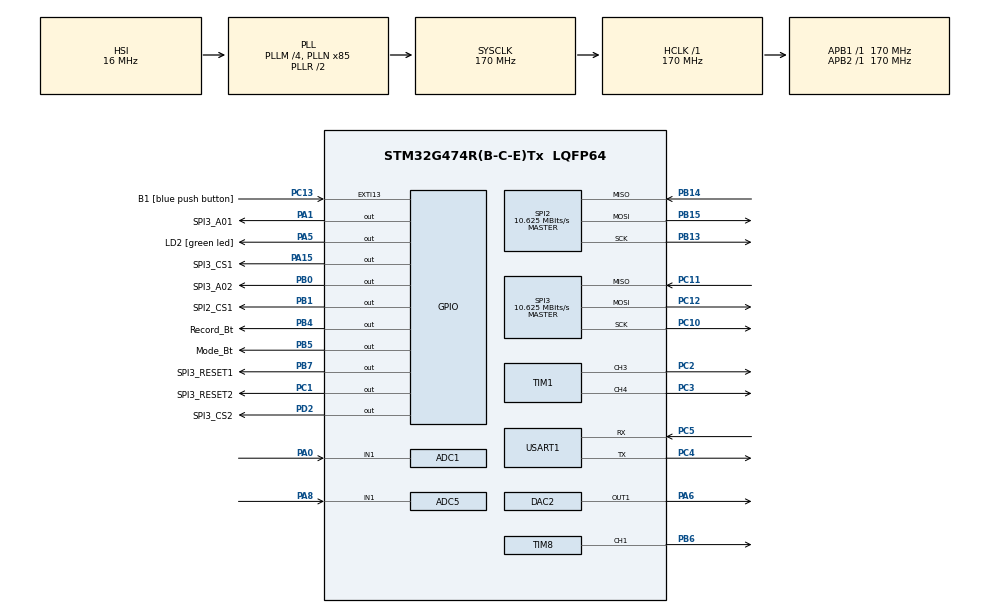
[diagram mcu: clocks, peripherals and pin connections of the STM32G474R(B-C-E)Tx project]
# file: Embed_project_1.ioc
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ADC1.Channel-0\#ChannelRegularConversion=ADC_CHANNEL_1
ADC1.NbrOfConversionFlag=1
ADC1.OffsetNumber-0\#ChannelRegularConversion=ADC_OFFSET_NONE
ADC1.Rank-0\#ChannelRegularConversion=1
ADC1.SamplingTime-0\#ChannelRegularConversion=ADC_SAMPLETIME_640CYCLES_5
ADC1.master=1
ADC5.Channel-0\#ChannelRegularConversion=ADC_CHANNEL_1
ADC5.NbrOfConversionFlag=1
ADC5.OffsetNumber-0\#ChannelRegularConversion=ADC_OFFSET_NONE
ADC5.Rank-0\#ChannelRegularConversion=1
ADC5.SamplingTime-0\#ChannelRegularConversion=ADC_SAMPLETIME_640CYCLES_5
Dma.ADC1.0.Direction=DMA_PERIPH_TO_MEMORY
Dma.ADC1.0.EventEnable=DISABLE
Dma.ADC1.0.Instance=DMA1_Channel1
Dma.ADC1.0.MemDataAlignment=DMA_MDATAALIGN_HALFWORD
Dma.ADC1.0.MemInc=DMA_MINC_ENABLE
Dma.ADC1.0.Mode=DMA_NORMAL
Dma.ADC1.0.PeriphDataAlignment=DMA_PDATAALIGN_HALFWORD
Dma.ADC1.0.PeriphInc=DMA_PINC_DISABLE
Dma.ADC1.0.Polarity=HAL_DMAMUX_REQ_GEN_RISING
Dma.ADC1.0.Priority=DMA_PRIORITY_LOW
Dma.ADC1.0.RequestNumber=1
Dma.ADC1.0.SignalID=NONE
Dma.ADC1.0.SyncEnable=DISABLE
Dma.ADC1.0.SyncPolarity=HAL_DMAMUX_SYNC_NO_EVENT
Dma.ADC1.0.SyncRequestNumber=1
Dma.ADC1.0.SyncSignalID=NONE
Dma.Request0=ADC1
Mcu.Family=STM32G4
Mcu.Name=STM32G474R(B-C-E)Tx
Mcu.Package=LQFP64
NVIC.DMA1_Channel1_IRQn=true\:0\:0\:false\:false\:true\:false\:true\:true
NVIC.EXTI15_10_IRQn=true\:0\:0\:false\:false\:true\:true\:true\:true
NVIC.PriorityGroup=NVIC_PRIORITYGROUP_4
NVIC.SPI2_IRQn=true\:0\:0\:false\:false\:true\:true\:true\:true
NVIC.TIM6_DAC_IRQn=true\:0\:0\:false\:false\:true\:true\:true\:true
PA0.Mode=IN1-Single-Ended
PA0.Signal=ADC1_IN1
PA1.GPIO_Label=SPI3_A01
PA1.Signal=GPIO_Output
PA13.GPIO_Label=T_SWDIO
PA13.Signal=SYS_JTMS-SWDIO
PA14.GPIO_Label=T_SWCLK
PA14.Signal=SYS_JTCK-SWCLK
PA15.GPIO_Label=SPI3_CS1
PA15.PinState=GPIO_PIN_SET
PA15.Signal=GPIO_Output
PA2.GPIO_Label=LPUART1_TX [STLINKV3E_VCP_RX]
PA2.Signal=LPUART1_TX
PA3.GPIO_Label=LPUART1_RX [STLINKV3E_VCP_TX]
PA3.Signal=LPUART1_RX
PA5.GPIO_Label=LD2 [green led]
PA5.Signal=GPIO_Output
PA6.Signal=COMP_DAC21_group
PA8.Mode=IN1-Single-Ended
PA8.Signal=ADC5_IN1
PB0.GPIO_Label=SPI3_A02
PB0.Signal=GPIO_Output
PB1.GPIO_Label=SPI2_CS1
PB1.PinState=GPIO_PIN_SET
PB1.Signal=GPIO_Output
PB13.Mode=Full_Duplex_Master
PB13.Signal=SPI2_SCK
PB14.GPIO_PuPd=GPIO_PULLUP
PB14.Mode=Full_Duplex_Master
PB14.Signal=SPI2_MISO
PB15.Mode=Full_Duplex_Master
PB15.Signal=SPI2_MOSI
PB3.GPIO_Label=T_SWO
PB3.Signal=SYS_JTDO-SWO
PB4.GPIO_Label=Record_Bt
PB4.Signal=GPIO_Output
PB5.GPIO_Label=Mode_Bt
PB5.Signal=GPIO_Output
PB6.Signal=S_TIM8_CH1
PB7.GPIO_Label=SPI3_RESET1
PB7.PinState=GPIO_PIN_SET
PB7.Signal=GPIO_Output
PC1.GPIO_Label=SPI3_RESET2
PC1.PinState=GPIO_PIN_SET
PC1.Signal=GPIO_Output
PC10.Mode=Full_Duplex_Master
PC10.Signal=SPI3_SCK
PC11.Mode=Full_Duplex_Master
PC11.Signal=SPI3_MISO
PC12.Mode=Full_Duplex_Master
PC12.Signal=SPI3_MOSI
PC13.GPIO_Label=B1 [blue push button]
PC13.Signal=GPXTI13
PC14-OSC32_IN.GPIO_Label=RCC_OSC32_IN
PC14-OSC32_IN.Signal=RCC_OSC32_IN
PC15-OSC32_OUT.GPIO_Label=RCC_OSC32_OUT
PC15-OSC32_OUT.Signal=RCC_OSC32_OUT
PC2.Signal=S_TIM1_CH3
PC3.Signal=S_TIM1_CH4
PC4.Mode=Asynchronous
PC4.Signal=USART1_TX
PC5.Mode=Asynchronous
PC5.Signal=USART1_RX
PD2.GPIO_Label=SPI3_CS2
PD2.PinState=GPIO_PIN_SET
PD2.Signal=GPIO_Output
PF0-OSC_IN.GPIO_Label=RCC_OSC_IN
PF0-OSC_IN.Signal=RCC_OSC_IN
PF1-OSC_OUT.GPIO_Label=RCC_OSC_OUT
PF1-OSC_OUT.Signal=RCC_OSC_OUT
ProjectManager.HeapSize=0x200
ProjectManager.StackSize=0x400
ProjectManager.TargetToolchain=STM32CubeIDE
RCC.ADC12Freq_Value=170000000
RCC.ADC345Freq_Value=170000000
RCC.AHBFreq_Value=170000000
RCC.APB1Freq_Value=170000000
RCC.APB1TimFreq_Value=170000000
RCC.APB2Freq_Value=170000000
RCC.APB2TimFreq_Value=170000000
RCC.CortexFreq_Value=170000000
RCC.EXTERNAL_CLOCK_VALUE=12288000
RCC.HCLKFreq_Value=170000000
RCC.HSE_VALUE=24000000
RCC.HSI48_VALUE=48000000
RCC.HSI_VALUE=16000000
RCC.LSE_VALUE=32768
RCC.PLLM=RCC_PLLM_DIV4
RCC.PLLN=85
RCC.RTCClockSelection=RCC_RTCCLKSOURCE_LSE
RCC.SYSCLKFreq_VALUE=170000000
RCC.SYSCLKSource=RCC_SYSCLKSOURCE_PLLCLK
RCC.USBFreq_Value=170000000
RCC.VCOOutputFreq_Value=340000000
SH.COMP_DAC21_group.0=DAC2_OUT1,DAC_OUT1
SH.S_TIM1_CH3.0=TIM1_CH3,PWM Generation3 CH3
SH.S_TIM1_CH4.0=TIM1_CH4,PWM Generation4 CH4
SH.S_TIM8_CH1.0=TIM8_CH1,PWM Generation1 CH1
SPI2.BaudRatePrescaler=SPI_BAUDRATEPRESCALER_16
SPI2.CalculateBaudRate=10.625 MBits/s
SPI2.DataSize=SPI_DATASIZE_8BIT
SPI2.Direction=SPI_DIRECTION_2LINES
SPI2.Mode=SPI_MODE_MASTER
SPI2.NSSPMode=SPI_NSS_PULSE_DISABLE
SPI2.VirtualType=VM_MASTER
SPI3.BaudRatePrescaler=SPI_BAUDRATEPRESCALER_16
SPI3.CalculateBaudRate=10.625 MBits/s
SPI3.DataSize=SPI_DATASIZE_8BIT
SPI3.Direction=SPI_DIRECTION_2LINES
SPI3.Mode=SPI_MODE_MASTER
SPI3.NSSPMode=SPI_NSS_PULSE_DISABLE
SPI3.VirtualType=VM_MASTER
TIM1.Channel-PWM\ Generation3\ CH3=TIM_CHANNEL_3
TIM1.Channel-PWM\ Generation4\ CH4=TIM_CHANNEL_4
TIM6.PeriodNoDither=62
TIM6.Prescaler=170-1
TIM8.Channel-PWM\ Generation1\ CH1=TIM_CHANNEL_1
USART1.VirtualMode-Asynchronous=VM_ASYNC
VP_FATFS_VS_Generic.Mode=User_defined
VP_SYS_VS_DBSignals.Mode=DisableDeadBatterySignals
VP_TIM1_VS_ClockSourceINT.Mode=Internal
VP_TIM4_VS_ClockSourceINT.Mode=Internal
VP_TIM6_VS_ClockSourceINT.Mode=Enable_Timer
VP_TIM8_VS_ClockSourceINT.Mode=Internal
board=NUCLEO-G474RE

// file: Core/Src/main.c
/* USER CODE BEGIN Header */
/**
  ******************************************************************************
  * @file           : main.c
  * @brief          : Main program body
  ******************************************************************************
  * @attention
  *
  * Copyright (c) 2026 STMicroelectronics.
  * All rights reserved.
  *
  * This software is licensed under terms that can be found in the LICENSE file
  * in the root directory of this software component.
  * If no LICENSE file comes with this software, it is provided AS-IS.
  *
  ******************************************************************************
  */
/* USER CODE END Header */
#include "main.h"
#include "adc.h"
#include "dac.h"
#include "dma.h"
#include "app_fatfs.h"
#include "spi.h"
#include "tim.h"
#include "usart.h"
#include "gpio.h"

/* USER CODE BEGIN Includes */
#include "app_fatfs.h"
#include "st7735.h"
#include <string.h>
#include <math.h>
/* USER CODE END Includes */

/* USER CODE BEGIN PV */
/* ตัวแปรเช็ก SD Card */
FATFS fs;
FIL fil;
FRESULT fres_mount = 99;
FRESULT fres_open  = 99;
UINT bytes_read    = 0;
char sd_buffer[64];

/* ตัวแปรเช็กหน้าจอ 2 จอ */
volatile uint8_t lcd_status = 0;
/* ตารางเก็บคลื่น Sine Wave 32 จุด (ที่ 16kHz จะได้เสียงความถี่ 500 Hz) */
uint16_t sine_table[32];
volatile uint8_t sine_idx = 0;

/* ตัวแปรสำหรับดูค่าเสียงจากไมโครโฟนใน Live Expressions */
volatile uint16_t mic_raw = 0;      // ค่าดิบจาก ADC (0 - 4095) เงียบๆ จะอยู่แถว ~2048
volatile uint16_t mic_peak = 0;     // ความดังสูงสุดตอนพูดใส่ไมค์ (0 - 2048)
/* USER CODE END PV */

void SystemClock_Config(void);

/* USER CODE BEGIN 0 */
/* ฟังก์ชันนี้จะถูกเรียกอัตโนมัติทุกๆ 1/16000 วินาที เพื่อส่งคลื่น Sine ออกขา PA6 */
void HAL_TIM_PeriodElapsedCallback(TIM_HandleTypeDef *htim)
{
    if (htim->Instance == TIM6)
    {
        HAL_DAC_SetValue(&hdac2, DAC_CHANNEL_1, DAC_ALIGN_12B_R, sine_table[sine_idx]);
        sine_idx++;
        if (sine_idx >= 32) sine_idx = 0;
    }
}
/* USER CODE END 0 */

int main(void)
{

  /* MCU Configuration--------------------------------------------------------*/

  /* Reset of all peripherals, Initializes the Flash interface and the Systick. */
  HAL_Init();

  /* Configure the system clock */
  SystemClock_Config();

  /* Initialize all configured peripherals */
  MX_GPIO_Init();
  MX_DMA_Init();
  MX_ADC1_Init();
  MX_DAC2_Init();
  MX_SPI2_Init();
  MX_SPI3_Init();
  MX_TIM1_Init();
  MX_TIM4_Init();
  MX_USART1_UART_Init();
  MX_TIM8_Init();
  if (MX_FATFS_Init() != APP_OK) {
    Error_Handler();
  }
  MX_TIM6_Init();
  MX_ADC5_Init();
  /* USER CODE BEGIN 2 */
  HAL_Delay(500); // รอไฟเลี้ยงอุปกรณ์ทุกชิ้นนิ่ง

  /* --- 1. ทดสอบอ่านไฟล์ test.txt จาก SD Card (SPI2) --- */
  memset(sd_buffer, 0, sizeof(sd_buffer));
  fres_mount = f_mount(&fs, "", 1);
  if (fres_mount == FR_OK) {
      fres_open = f_open(&fil, "test.txt", FA_READ);
      if (fres_open == FR_OK) {
          f_read(&fil, sd_buffer, sizeof(sd_buffer) - 1, &bytes_read);
          f_close(&fil);
      }
  }

  /* --- 2. ทดสอบแสดงผลบนหน้าจอคู่ ST7735 ทั้ง 2 จอ (SPI3) --- */
  lcd_status = 1; // เริ่มต้น Init จอ
  ST7735_Init(1); // จอซ้าย
  ST7735_Init(2); // จอขวา

  lcd_status = 2; // เคลียร์พื้นหลังสีดำทั้ง 2 จอ
  ST7735_FillScreen(1, ST7735_BLACK);
  ST7735_FillScreen(2, ST7735_BLACK);

  /* วาดตาเพนกวิน: จอซ้ายสีฟ้า / จอขวาสีเหลือง */
  ST7735_FillRoundRect(1, 34, 24, 60, 80, 18, ST7735_CYAN);
  ST7735_FillRoundRect(2, 34, 24, 60, 80, 18, ST7735_YELLOW);

  /* จุดสีเขียวมุมซ้ายบนของจอที่ 1 = อ่าน SD Card สำเร็จ / จุดสีแดง = อ่านไม่ได้ */
  if (fres_mount == FR_OK) {
      ST7735_FillCircle(1, 12, 12, 6, ST7735_GREEN);
  } else {
      ST7735_FillCircle(1, 12, 12, 6, ST7735_RED);
  }

  lcd_status = 3; // ทำงานครบทุกขั้นตอนสมบูรณ์
  // สร้างตารางคลื่น Sine 12-bit (ค่าแกว่งระหว่าง 0 ถึง 4095 กึ่งกลางที่ 2048)
  for (int i = 0; i < 32; i++) {
      sine_table[i] = (uint16_t)(2048.0f + 1800.0f * sinf(2.0f * 3.1415926f * i / 32.0f));
  }

  // เริ่มปล่อยสัญญาณเสียง Sine Wave 500 Hz ออกขา PA6 (ลำโพง)
  HAL_DAC_Start(&hdac2, DAC_CHANNEL_1);
  HAL_TIM_Base_Start_IT(&htim6);
  /* USER CODE END 2 */

  /* Infinite loop */
  while (1)
  {

    /* USER CODE BEGIN 3 */
	  // อ่านค่าแรงดันเสียงจากไมโครโฟน (ขา PA0 / ADC1)
	  HAL_ADC_Start(&hadc1);
	  if (HAL_ADC_PollForConversion(&hadc1, 10) == HAL_OK) {
	      mic_raw = HAL_ADC_GetValue(&hadc1);

	      // คำนวณความแรงเสียงเทียบกับจุดกึ่งกลาง (2048)
	      uint16_t amp = (mic_raw > 2048) ? (mic_raw - 2048) : (2048 - mic_raw);
	      if (amp > mic_peak) mic_peak = amp; // เก็บค่าสูงสุดที่พูดดังสุด
	  }
	  HAL_ADC_Stop(&hadc1);
  /* USER CODE END 3 */
}

void SystemClock_Config(void)
{
  RCC_OscInitTypeDef RCC_OscInitStruct = {0};
  RCC_ClkInitTypeDef RCC_ClkInitStruct = {0};

  /** Configure the main internal regulator output voltage
  */
  HAL_PWREx_ControlVoltageScaling(PWR_REGULATOR_VOLTAGE_SCALE1_BOOST);

  /** Initializes the RCC Oscillators according to the specified parameters
  * in the RCC_OscInitTypeDef structure.
  */
  RCC_OscInitStruct.OscillatorType = RCC_OSCILLATORTYPE_HSI;
  RCC_OscInitStruct.HSIState = RCC_HSI_ON;
  RCC_OscInitStruct.HSICalibrationValue = RCC_HSICALIBRATION_DEFAULT;
  RCC_OscInitStruct.PLL.PLLState = RCC_PLL_ON;
  RCC_OscInitStruct.PLL.PLLSource = RCC_PLLSOURCE_HSI;
  RCC_OscInitStruct.PLL.PLLM = RCC_PLLM_DIV4;
  RCC_OscInitStruct.PLL.PLLN = 85;
  RCC_OscInitStruct.PLL.PLLP = RCC_PLLP_DIV2;
  RCC_OscInitStruct.PLL.PLLQ = RCC_PLLQ_DIV2;
  RCC_OscInitStruct.PLL.PLLR = RCC_PLLR_DIV2;
  if (HAL_RCC_OscConfig(&RCC_OscInitStruct) != HAL_OK)
  {
    Error_Handler();
  }

  /** Initializes the CPU, AHB and APB buses clocks
  */
  RCC_ClkInitStruct.ClockType = RCC_CLOCKTYPE_HCLK|RCC_CLOCKTYPE_SYSCLK
                              |RCC_CLOCKTYPE_PCLK1|RCC_CLOCKTYPE_PCLK2;
  RCC_ClkInitStruct.SYSCLKSource = RCC_SYSCLKSOURCE_PLLCLK;
  RCC_ClkInitStruct.AHBCLKDivider = RCC_SYSCLK_DIV1;
  RCC_ClkInitStruct.APB1CLKDivider = RCC_HCLK_DIV1;
  RCC_ClkInitStruct.APB2CLKDivider = RCC_HCLK_DIV1;

  if (HAL_RCC_ClockConfig(&RCC_ClkInitStruct, FLASH_LATENCY_4) != HAL_OK)
  {
    Error_Handler();
  }
}

void Error_Handler(void)
{
  __disable_irq();
  while (1)
  {
  }
}
